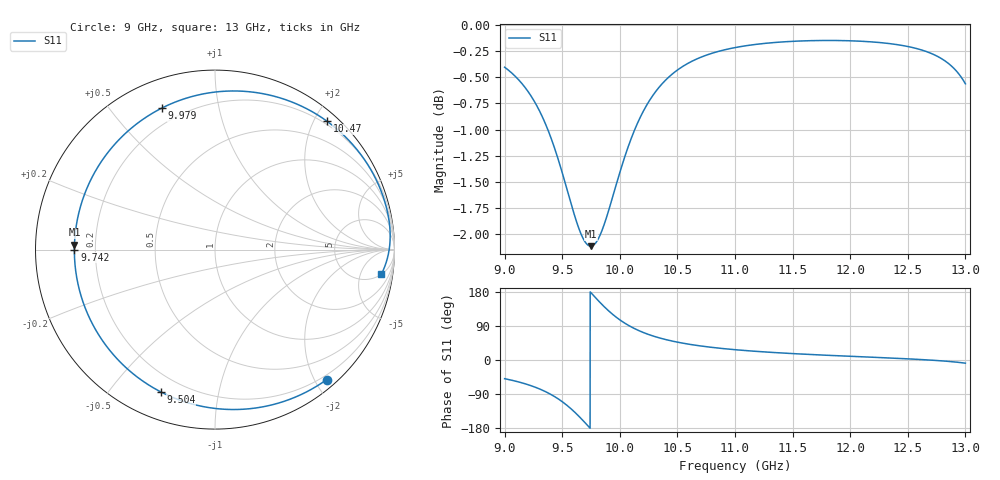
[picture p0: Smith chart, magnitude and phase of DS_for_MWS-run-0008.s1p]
! TOUCHSTONE file generated by CST DESIGN STUDIO
! Date and time: Tue Feb  4 16:08:46 2025
! Project name: C:\Work\MatlabApps\UnitCellOptimizationMatlab\CST\unitcell.cst
! Tree item: Tasks\Sweep1\SPara1\S-Parameters
! Header version: 2024
! Port assignment regex: !\s*Touchstone port\s*([0-9]+)\s*=\s*(CST MWS port|CST DES external port|CST DES block port)\s*(.+)\s* \(\"(.*)\"\)(\s*mode\s*([0-9]+))?.*
! Touchstone port assignment:
! Touchstone port 1 = CST DES external port 1 ("")
# GHz S MA R 50
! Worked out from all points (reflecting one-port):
!   4001 points, 9 GHz to 13 GHz, reference 50 ohm
!   lowest |S11| = -2.1 dB at 9.748 GHz (marker M1), VSWR 8.24, Z = 6.07 + j0.854 ohm
!   phase of S11 starts at -49 deg and turns -319 deg over the sweep
!   S11 on the Smith chart (normalised r, x): 9 GHz: 0.13, -2.17; 9.504 GHz: 0.12, -0.68; 9.742 GHz: 0.12, -0.00; 9.979 GHz: 0.13, +0.68; 10.47 GHz: 0.15, +2.19; 13 GHz: 5, -11
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9  0.9548 -49.3
9.137  0.9396 -59.1
9.264  0.9182 -71.6
9.397  0.8847 -90.1
9.5  0.8498 -110.0
9.504  0.8483 -110.9
9.56  0.8274 -124.4
9.614  0.8083 -139.2
9.681  0.7903 -159.9
9.742  0.7835 -180.0
9.748  0.7835 178.0
9.806  0.7886 158.9
9.871  0.8045 138.8
9.924  0.8223 124.1
9.979  0.8423 110.6
10  0.8499 106.0
10.097  0.8819 87.7
10.221  0.9131 70.5
10.338  0.9334 58.8
10.472  0.9492 48.8
10.5  0.9518 47.1
10.718  0.9661 36.4
11  0.9757 27.2
11.5  0.9825 16.9
12  0.9831 9.8
12.5  0.9769 3.1
12.783  0.9646 -2.0
13  0.9374 -8.3
